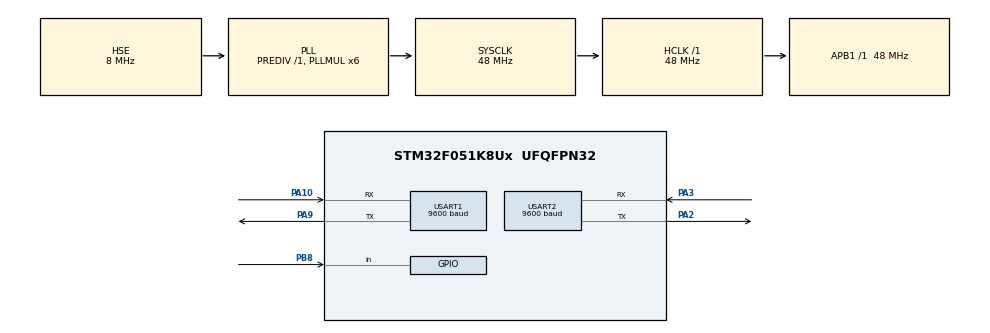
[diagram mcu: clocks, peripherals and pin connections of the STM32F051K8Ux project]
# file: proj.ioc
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Dma.Request0=USART2_RX
Dma.USART2_RX.0.Direction=DMA_PERIPH_TO_MEMORY
Dma.USART2_RX.0.Instance=DMA1_Channel5
Dma.USART2_RX.0.MemDataAlignment=DMA_MDATAALIGN_BYTE
Dma.USART2_RX.0.MemInc=DMA_MINC_ENABLE
Dma.USART2_RX.0.Mode=DMA_NORMAL
Dma.USART2_RX.0.PeriphDataAlignment=DMA_PDATAALIGN_BYTE
Dma.USART2_RX.0.PeriphInc=DMA_PINC_DISABLE
Dma.USART2_RX.0.Priority=DMA_PRIORITY_LOW
Mcu.Family=STM32F0
Mcu.Name=STM32F051K8Ux
Mcu.Package=UFQFPN32
NVIC.DMA1_Channel4_5_IRQn=true\:3\:0\:true\:false\:true\:false\:true\:true
NVIC.TIM6_DAC_IRQn=true\:1\:0\:true\:false\:true\:true\:true\:true
NVIC.USART1_IRQn=true\:0\:0\:true\:false\:true\:true\:true\:true
PA10.Mode=Asynchronous
PA10.Signal=USART1_RX
PA2.Mode=Asynchronous
PA2.Signal=USART2_TX
PA3.Mode=Asynchronous
PA3.Signal=USART2_RX
PA9.Mode=Asynchronous
PA9.Signal=USART1_TX
PB8.Signal=GPIO_Input
PF0-OSC_IN.Mode=HSE-External-Oscillator
PF0-OSC_IN.Signal=RCC_OSC_IN
PF1-OSC_OUT.Mode=HSE-External-Oscillator
PF1-OSC_OUT.Signal=RCC_OSC_OUT
ProjectManager.HeapSize=0x200
ProjectManager.StackSize=0x400
ProjectManager.TargetToolchain=MDK-ARM V5.32
RCC.AHBFreq_Value=48000000
RCC.APB1Freq_Value=48000000
RCC.APB1TimFreq_Value=48000000
RCC.HCLKFreq_Value=48000000
RCC.PLLMUL=RCC_PLL_MUL6
RCC.PLLSourceVirtual=RCC_PLLSOURCE_HSE
RCC.SYSCLKFreq_VALUE=48000000
RCC.SYSCLKSource=RCC_SYSCLKSOURCE_PLLCLK
TIM6.Prescaler=47
USART1.BaudRate=9600
USART1.VirtualMode-Asynchronous=VM_ASYNC
USART2.BaudRate=9600
USART2.VirtualMode-Asynchronous=VM_ASYNC
VP_TIM6_VS_ClockSourceINT.Mode=Enable_Timer
board=custom

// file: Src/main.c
/* USER CODE BEGIN Header */
/**
  ******************************************************************************
  * @file           : main.c
  * @brief          : Main program body
  ******************************************************************************
  * @attention
  *
  * Copyright (c) 2023 STMicroelectronics.
  * All rights reserved.
  *
  * This software is licensed under terms that can be found in the LICENSE file
  * in the root directory of this software component.
  * If no LICENSE file comes with this software, it is provided AS-IS.
  *
  ******************************************************************************
  */
/* USER CODE END Header */
#include "main.h"
#include "dma.h"
#include "tim.h"
#include "usart.h"
#include "gpio.h"

/* USER CODE BEGIN Includes */
#include "iot.h"
#include "dht11.h"
/* USER CODE END Includes */

/* USER CODE BEGIN PV */
char data[256]={0};
/* USER CODE END PV */

void SystemClock_Config(void);
/* USER CODE BEGIN PFP */
int fputc(int ch,FILE *fp){
  HAL_UART_Transmit(&huart1,(uint8_t *)&ch,1,HAL_MAX_DELAY);
  return ch;
}
// void HAL_TIM_PeriodElapsedCallback(TIM_HandleTypeDef *htim){
//   if(htim->Instance==TIM14){
// 		dhtinf();
//   }
// }
/* USER CODE END PFP */

int main(void)
{

  /* MCU Configuration--------------------------------------------------------*/

  /* Reset of all peripherals, Initializes the Flash interface and the Systick. */
  HAL_Init();

  /* Configure the system clock */
  SystemClock_Config();

  /* Initialize all configured peripherals */
  MX_GPIO_Init();
  MX_DMA_Init();
  MX_USART2_UART_Init();
  MX_USART1_UART_Init();
  MX_TIM6_Init();
  /* USER CODE BEGIN 2 */
  LL_TIM_EnableCounter(TIM6);
  __HAL_UART_ENABLE_IT(&huart2,UART_IT_IDLE);
  __HAL_UART_CLEAR_FLAG(&huart2,UART_CLEAR_IDLEF);
  HAL_UART_Receive_DMA(&huart2,(uint8_t *)data,256);
  HAL_Delay(10000);
  NBIOT_Init();
  /* USER CODE END 2 */

  /* Infinite loop */
  while (1)
  {

    /* USER CODE BEGIN 3 */
    dhtinf();
    puts("xxxxxxxxxxxxxxxxxxxx");
    HAL_Delay(15000);
    puts("aaaaaaaaaaaa");
  }
  /* USER CODE END 3 */
}

void SystemClock_Config(void)
{
  RCC_OscInitTypeDef RCC_OscInitStruct = {0};
  RCC_ClkInitTypeDef RCC_ClkInitStruct = {0};
  RCC_PeriphCLKInitTypeDef PeriphClkInit = {0};

  /** Initializes the RCC Oscillators according to the specified parameters
  * in the RCC_OscInitTypeDef structure.
  */
  RCC_OscInitStruct.OscillatorType = RCC_OSCILLATORTYPE_HSE;
  RCC_OscInitStruct.HSEState = RCC_HSE_ON;
  RCC_OscInitStruct.PLL.PLLState = RCC_PLL_ON;
  RCC_OscInitStruct.PLL.PLLSource = RCC_PLLSOURCE_HSE;
  RCC_OscInitStruct.PLL.PLLMUL = RCC_PLL_MUL6;
  RCC_OscInitStruct.PLL.PREDIV = RCC_PREDIV_DIV1;
  if (HAL_RCC_OscConfig(&RCC_OscInitStruct) != HAL_OK)
  {
    Error_Handler();
  }

  /** Initializes the CPU, AHB and APB buses clocks
  */
  RCC_ClkInitStruct.ClockType = RCC_CLOCKTYPE_HCLK|RCC_CLOCKTYPE_SYSCLK
                              |RCC_CLOCKTYPE_PCLK1;
  RCC_ClkInitStruct.SYSCLKSource = RCC_SYSCLKSOURCE_PLLCLK;
  RCC_ClkInitStruct.AHBCLKDivider = RCC_SYSCLK_DIV1;
  RCC_ClkInitStruct.APB1CLKDivider = RCC_HCLK_DIV1;

  if (HAL_RCC_ClockConfig(&RCC_ClkInitStruct, FLASH_LATENCY_1) != HAL_OK)
  {
    Error_Handler();
  }
  PeriphClkInit.PeriphClockSelection = RCC_PERIPHCLK_USART1;
  PeriphClkInit.Usart1ClockSelection = RCC_USART1CLKSOURCE_PCLK1;
  if (HAL_RCCEx_PeriphCLKConfig(&PeriphClkInit) != HAL_OK)
  {
    Error_Handler();
  }
}

void Error_Handler(void)
{
  __disable_irq();
  while (1)
  {
  }
}
